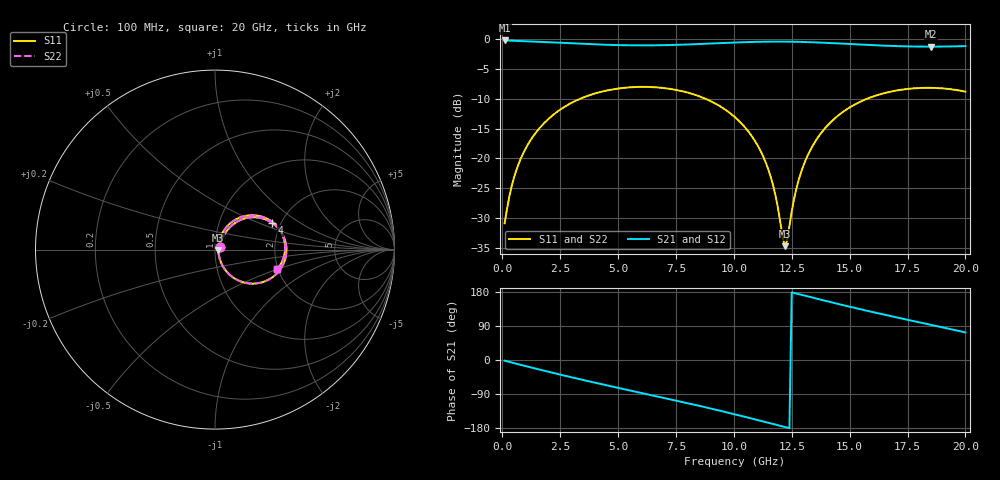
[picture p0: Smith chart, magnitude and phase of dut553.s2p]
! Touchstone file exported from HFSS 2026.1.0
!  File:  C:/ffzhzh/LocalFiles/Ansys_Project_Files/temp_train_TSV_RDL_553_1783115252_46604.aedt
!  Generated:  05:59:56 AM Jul  4, 2026
!  Design:  TSV_RDL
!  Project:  temp_train_TSV_RDL_553_1783115252_46604
! Variables:
!  h_bsmrdl = 2.13um
!  h_ox = 20um
!  h_rdl = 5um
!  h_sub = 84.83um
!  h_tmrdl = 2.38um
!  h_tsv = 84.83um
!  h_via = 3um
!  l_bsmrdl = 546.17um
!  l_sub = 4827.85um
!  l_tmrdl = 655.71um
!  m_sub = 200um
!  pitch = 45.42um
!  r_tsv = 8.99um
!  s_tmrdl = 10um
!  w_bsmrdl = 26.9um
!  w_sub = 500um
!  w_tmrdl = 28.6um
!  x_tsv_center1 = 670.01um
!  x_tsv_center2 = 1243.08um
!  x_tsv_center3 = 1927.39um
!  x_tsv_center4 = 2500.46um
!  x_tsv_center5 = 3184.77um
!  x_tsv_center6 = 3757.84um
# GHz S MA R 50.000000
! Terminal data exported
! Port[1] = TM_RDL1_1_T1
! Port[2] = TM_RDL5_1_T1
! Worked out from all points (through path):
!   200 points, 100 MHz to 20 GHz, reference 50 ohm
!   highest |S21| = -0.22 dB at 100 MHz (marker M1); lowest = -1.3 dB at 18.5 GHz (marker M2)
!   group delay of S21, straight-line fit = 40 ps
!   lowest |S11| = -34.7 dB at 12.2 GHz (marker M3), VSWR 1.04, Z = 51.9 - j0.145 ohm
!   |S11| at or under -10 dB: start of sweep to 3.359 GHz; 8.779 GHz to 15.75 GHz (6.971 GHz wide, 56.8 % of centre)
!   |S22| runs from -34.5 to -8.0 dB; largest |S21 - S12| = 2.4e-14
!   S11 on the Smith chart (normalised r, x): 100 MHz: 1.05, +0.03; 4 GHz: 1.79, +0.61; 20 GHz: 1.98, -0.50
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0.1  0.02862 26.5  0.9747 -1.7  0.9747 -1.7  0.02862 26.5
! Gamma 0 0 0 0
! Port Impedance 50 0 50 0
0.5  0.0687 56.0  0.9682 -8.2  0.9682 -8.2  0.0687 56.0
1.2  0.1402 57.0  0.9567 -19.1  0.9567 -19.1  0.1402 57.0
2.2  0.2322 47.4  0.9383 -34.2  0.9383 -34.2  0.2322 47.4
3.5  0.3246 31.6  0.9126 -52.9  0.9126 -52.9  0.3245 31.6
4  0.3504 25.3  0.904 -59.9  0.904 -59.9  0.3504 25.3
5.4  0.3931 7.7  0.8884 -78.9  0.8884 -78.9  0.3931 7.8
6.8  0.3923 -9.9  0.8889 -97.5  0.8889 -97.5  0.3923 -9.8
8.5  0.3324 -31.8  0.9097 -120.9  0.9097 -120.9  0.3323 -31.7
10.1  0.2172 -52.8  0.9376 -144.2  0.9376 -144.2  0.2172 -52.6
10.8  0.1514 -61.0  0.9472 -154.9  0.9472 -154.9  0.1514 -60.8
11.4  0.09019 -65.3  0.9522 -164.2  0.9522 -164.2  0.09026 -65.0
11.8  0.04884 -61.1  0.9535 -170.5  0.9535 -170.5  0.04901 -60.5
12.2  0.01843 -4.3  0.953 -176.8  0.953 -176.8  0.01894 -4.1
12.3  0.02057 26.1  0.9526 -178.4  0.9526 -178.4  0.02105 25.5
12.6  0.04575 61.0  0.9508 176.9  0.9508 176.9  0.04598 60.4
12.8  0.06602 65.4  0.949 173.8  0.949 173.8  0.06619 65.1
13.4  0.1273 64.3  0.9413 164.5  0.9413 164.5  0.1274 64.1
14.7  0.2448 49.3  0.9165 145.0  0.9165 145.0  0.2448 49.3
16.7  0.3605 23.7  0.8783 116.8  0.8783 116.8  0.3604 23.7
18.5  0.3907 1.2  0.8652 92.8  0.8652 92.8  0.3906 1.2
20  0.3628 -17.4  0.8744 72.8  0.8744 72.8  0.3628 -17.4
